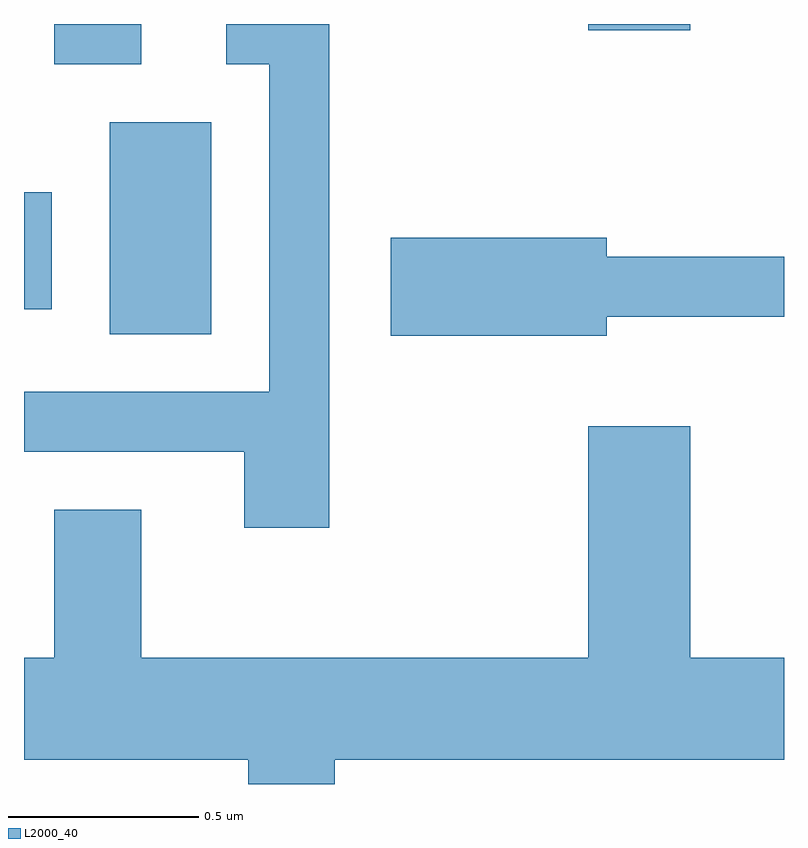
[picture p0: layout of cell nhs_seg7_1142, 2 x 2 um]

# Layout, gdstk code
import gdstk
lib = gdstk.Library(unit=1e-6, precision=1e-09)
def R(c, l, rs):  # rectangles x0, y0, x1, y1
    for r in rs: c.add(gdstk.rectangle(r[:2], r[2:], *l))
def P(c, l, *ps):  # polygons
    for p in ps: c.add(gdstk.Polygon(p, *l))
L2000_40 = (2000, 40)

nhs_seg7_1142 = lib.new_cell('nhs_seg7_1142')
R(nhs_seg7_1142, L2000_40, [(193.836,1715.436,194.104,1715.994), (193.611,1715.501,193.684,1715.809), (193.691,1716.146,193.919,1716.252), (195.096,1716.236,195.364,1716.252)])
P(nhs_seg7_1142, L2000_40, [(194.414,1716.252),(194.143,1716.252),(194.143,1716.146),(194.256,1716.146),(194.256,1715.284),(193.611,1715.284),(193.611,1715.126),(194.191,1715.126),(194.191,1714.926),(194.414,1714.926)],
  [(195.144,1715.481),(195.611,1715.481),(195.611,1715.639),(195.144,1715.639),(195.144,1715.689),(194.576,1715.689),(194.576,1715.431),(195.144,1715.431)],
  [(194.429,1714.316),(195.611,1714.316),(195.611,1714.584),(195.364,1714.584),(195.364,1715.194),(195.096,1715.194),(195.096,1714.584),(193.919,1714.584),(193.919,1714.974),(193.691,1714.974),(193.691,1714.584),(193.611,1714.584),(193.611,1714.316),(194.201,1714.316),(194.201,1714.252),(194.429,1714.252)])

lib.write_gds('nhs_seg7_1142.gds')
